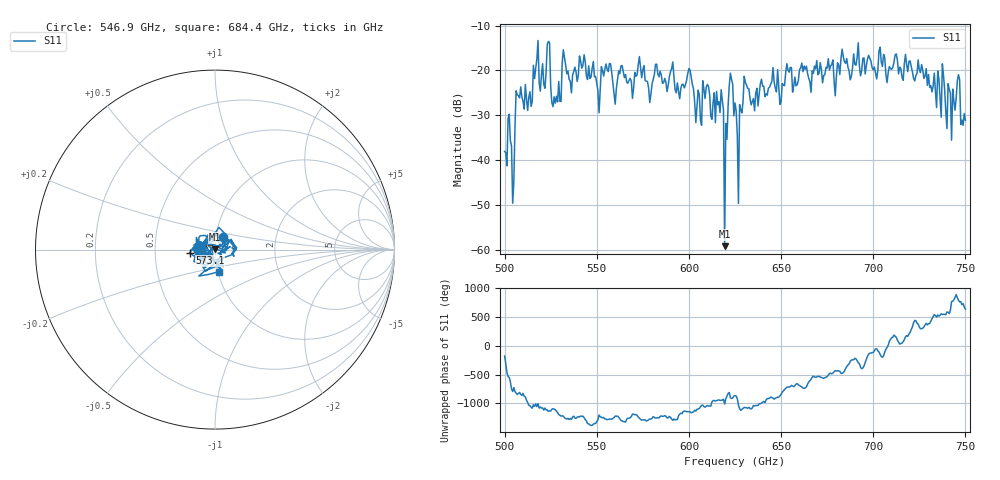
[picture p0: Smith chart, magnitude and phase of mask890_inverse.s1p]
!Created with skrf (http://scikit-rf.org).
# GHz S MA R 50.0
!freq magS11 angS11
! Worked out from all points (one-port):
!   401 points, 500 GHz to 750 GHz, reference 50 ohm
!   lowest |S11| = -59.3 dB at 619.4 GHz (marker M1), VSWR 1.00, Z = 50 + j0.102 ohm
!   |S11| at or under -10 dB: start of sweep to end of sweep
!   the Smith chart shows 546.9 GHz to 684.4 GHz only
!   S11 on the Smith chart (normalised r, x): 546.9 GHz: 1.08, +0.15; 573.1 GHz: 0.75, -0.03; 684.4 GHz: 1.01, -0.25
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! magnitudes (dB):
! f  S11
! 500 GHz  -38.1
! 502.5 GHz  -29.8
! 504.4 GHz  -49.7
! 507.5 GHz  -25.6
! 513.8 GHz  -24.8
! 516.9 GHz  -19.5
! 520.6 GHz  -18.5
! 523.8 GHz  -13.5
! 526.9 GHz  -25.9
! 531.2 GHz  -18.2
! 546.9 GHz  -21.5
! 550.6 GHz  -24.5
! 562.5 GHz  -20.7
! 573.1 GHz  -16.9
! 593.8 GHz  -22.8
! 616.2 GHz  -27.0
! 619.4 GHz  -59.3
! 622.5 GHz  -20.6
! 625 GHz  -27.3
! 627.5 GHz  -27.6
! 631.2 GHz  -23.3
! 656.2 GHz  -24.9
! 684.4 GHz  -18.1
! 687.5 GHz  -22.1
! 718.8 GHz  -20.3
! 741.2 GHz  -24.3
! 745.6 GHz  -22.4
! 750 GHz  -31.1
